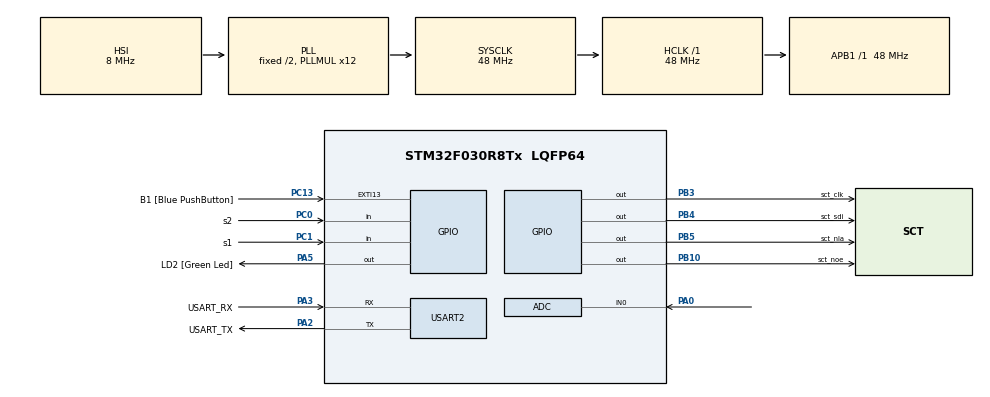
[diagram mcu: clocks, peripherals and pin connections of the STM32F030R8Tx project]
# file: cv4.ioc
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ADC.ContinuousConvMode=ENABLE
ADC.DiscontinuousConvMode=DISABLE
ADC.Overrun=ADC_OVR_DATA_OVERWRITTEN
ADC.SamplingTime=ADC_SAMPLETIME_239CYCLES_5
Mcu.Family=STM32F0
Mcu.Name=STM32F030R8Tx
Mcu.Package=LQFP64
NVIC.ADC1_IRQn=true\:0\:0\:false\:false\:true\:true\:true\:true
PA0.Mode=IN0
PA0.Signal=ADC_IN0
PA13.GPIO_Label=TMS
PA13.Mode=Serial_Wire
PA13.Signal=SYS_SWDIO
PA14.GPIO_Label=TCK
PA14.Mode=Serial_Wire
PA14.Signal=SYS_SWCLK
PA2.GPIO_Label=USART_TX
PA2.GPIO_Mode=GPIO_MODE_AF_PP
PA2.GPIO_PuPd=GPIO_NOPULL
PA2.GPIO_Speed=GPIO_SPEED_FREQ_LOW
PA2.Mode=Asynchronous
PA2.Signal=USART2_TX
PA3.GPIO_Label=USART_RX
PA3.GPIO_Mode=GPIO_MODE_AF_PP
PA3.GPIO_PuPd=GPIO_NOPULL
PA3.GPIO_Speed=GPIO_SPEED_FREQ_LOW
PA3.Mode=Asynchronous
PA3.Signal=USART2_RX
PA5.GPIO_Label=LD2 [Green Led]
PA5.GPIO_Mode=GPIO_MODE_OUTPUT_PP
PA5.GPIO_PuPd=GPIO_NOPULL
PA5.GPIO_Speed=GPIO_SPEED_FREQ_LOW
PA5.Signal=GPIO_Output
PB10.GPIO_Label=sct_noe
PB10.Signal=GPIO_Output
PB3.GPIO_Label=sct_clk
PB3.Signal=GPIO_Output
PB4.GPIO_Label=sct_sdi
PB4.Signal=GPIO_Output
PB5.GPIO_Label=sct_nla
PB5.Signal=GPIO_Output
PC0.GPIO_Label=s2
PC0.GPIO_PuPd=GPIO_PULLUP
PC0.Signal=GPIO_Input
PC1.GPIO_Label=s1
PC1.GPIO_PuPd=GPIO_PULLUP
PC1.Signal=GPIO_Input
PC13.GPIO_Label=B1 [Blue PushButton]
PC13.GPIO_ModeDefaultEXTI=GPIO_MODE_IT_FALLING
PC13.Signal=GPXTI13
PC14-OSC32_IN.Mode=LSE-External-Oscillator
PC14-OSC32_IN.Signal=RCC_OSC32_IN
PC15-OSC32_OUT.Mode=LSE-External-Oscillator
PC15-OSC32_OUT.Signal=RCC_OSC32_OUT
PF0-OSC_IN.Mode=HSE-External-Clock-Source
PF0-OSC_IN.Signal=RCC_OSC_IN
PF1-OSC_OUT.Signal=RCC_OSC_OUT
ProjectManager.HeapSize=0x200
ProjectManager.StackSize=0x400
ProjectManager.TargetToolchain=STM32CubeIDE
RCC.AHBFreq_Value=48000000
RCC.APB1Freq_Value=48000000
RCC.APB1TimFreq_Value=48000000
RCC.HCLKFreq_Value=48000000
RCC.PLLMUL=RCC_PLL_MUL12
RCC.SYSCLKFreq_VALUE=48000000
RCC.SYSCLKSource=RCC_SYSCLKSOURCE_PLLCLK
USART2.VirtualMode-Asynchronous=VM_ASYNC
VP_ADC_TempSens_Input.Mode=IN-TempSens
VP_ADC_Vref_Input.Mode=IN-Vrefint
board=NUCLEO-F030R8

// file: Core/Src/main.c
/* USER CODE BEGIN Header */
/**
  ******************************************************************************
  * @file           : main.c
  * @brief          : Main program body
  ******************************************************************************
  * @attention
  *
  * Copyright (c) 2023 STMicroelectronics.
  * All rights reserved.
  *
  * This software is licensed under terms that can be found in the LICENSE file
  * in the root directory of this software component.
  * If no LICENSE file comes with this software, it is provided AS-IS.
  *
  ******************************************************************************
  */
/* USER CODE END Header */
#include "main.h"

/* USER CODE BEGIN Includes */
#include "sct.h"
/* USER CODE END Includes */

/* USER CODE BEGIN PD */
#define TEMP110_CAL_ADDR ((uint16_t*) ((uint32_t) 0x1FFFF7C2))
#define TEMP30_CAL_ADDR ((uint16_t*) ((uint32_t) 0x1FFFF7B8))
#define VREFINT_CAL_ADDR ((uint16_t*) ((uint32_t) 0x1FFFF7BA))

/* USER CODE END PD */

ADC_HandleTypeDef hadc;

UART_HandleTypeDef huart2;

void SystemClock_Config(void);
static void MX_GPIO_Init(void);
static void MX_USART2_UART_Init(void);
static void MX_ADC_Init(void);

/* USER CODE BEGIN 0 */
static volatile uint32_t raw_pot, raw_temp, raw_volt;

void HAL_ADC_ConvCpltCallback(ADC_HandleTypeDef* hadc)
{

	static uint32_t avg_pot, channel;
	if (channel == 0){
		const uint8_t ADC_Q = 12;
		raw_pot = avg_pot >> ADC_Q;
		avg_pot -= raw_pot;
		avg_pot += HAL_ADC_GetValue(hadc);
	}
	if (channel == 1){
		raw_temp = HAL_ADC_GetValue(hadc);
	}
	if (channel == 2){
		raw_volt = HAL_ADC_GetValue(hadc);
	}
	if (__HAL_ADC_GET_FLAG(hadc, ADC_FLAG_EOS)){
		channel = 0;
	}
	else{
		channel++;
	}
}
/* USER CODE END 0 */

int main(void)
{

  /* MCU Configuration--------------------------------------------------------*/

  /* Reset of all peripherals, Initializes the Flash interface and the Systick. */
  HAL_Init();

  /* Configure the system clock */
  SystemClock_Config();

  /* Initialize all configured peripherals */
  MX_GPIO_Init();
  MX_USART2_UART_Init();
  MX_ADC_Init();
  /* USER CODE BEGIN 2 */
  sct_init();
  HAL_ADCEx_Calibration_Start(&hadc);
  HAL_ADC_Start_IT(&hadc);
  static enum { SHOW_POT, SHOW_VOLT, SHOW_TEMP } current_state = SHOW_POT;

  /* USER CODE END 2 */

  /* Infinite loop */
  /* USER CODE BEGIN WHILE */
  uint32_t set_tick = 0;
  while (1)
  {
	  if (HAL_GPIO_ReadPin(s1_GPIO_Port, s1_Pin) == GPIO_PIN_RESET) {
		  current_state = SHOW_VOLT;
		  set_tick = HAL_GetTick();
	  }
	  if (HAL_GPIO_ReadPin(s2_GPIO_Port, s2_Pin) == GPIO_PIN_RESET) {
		  current_state = SHOW_TEMP;
		  set_tick = HAL_GetTick();
	  }
	  if (HAL_GetTick() >= (set_tick + 1000)) {
		  current_state = SHOW_POT;
	  }

	  switch(current_state){
	  case SHOW_POT:
		  sct_value(raw_pot * (500 + 1) / 4096, raw_pot * 9 / 4096);
		  break;

	  case SHOW_VOLT:
		  sct_value(330 * (*VREFINT_CAL_ADDR) / raw_volt, 0);
		  break;

	  case SHOW_TEMP:
		  int32_t temperature = (raw_temp - (int32_t)(*TEMP30_CAL_ADDR));
		  temperature = temperature * (int32_t)(110 - 30);
		  temperature = temperature / (int32_t)(*TEMP110_CAL_ADDR - *TEMP30_CAL_ADDR);
		  temperature = temperature + 30;
		  sct_value(temperature, 0);
		  break;
	  }
	  HAL_Delay(50);
		  /* USER CODE END WHILE */
  }
}

void SystemClock_Config(void)
{
  RCC_OscInitTypeDef RCC_OscInitStruct = {0};
  RCC_ClkInitTypeDef RCC_ClkInitStruct = {0};

  /** Initializes the RCC Oscillators according to the specified parameters
  * in the RCC_OscInitTypeDef structure.
  */
  RCC_OscInitStruct.OscillatorType = RCC_OSCILLATORTYPE_HSI|RCC_OSCILLATORTYPE_HSI14;
  RCC_OscInitStruct.HSIState = RCC_HSI_ON;
  RCC_OscInitStruct.HSI14State = RCC_HSI14_ON;
  RCC_OscInitStruct.HSICalibrationValue = RCC_HSICALIBRATION_DEFAULT;
  RCC_OscInitStruct.HSI14CalibrationValue = 16;
  RCC_OscInitStruct.PLL.PLLState = RCC_PLL_ON;
  RCC_OscInitStruct.PLL.PLLSource = RCC_PLLSOURCE_HSI;
  RCC_OscInitStruct.PLL.PLLMUL = RCC_PLL_MUL12;
  RCC_OscInitStruct.PLL.PREDIV = RCC_PREDIV_DIV1;
  if (HAL_RCC_OscConfig(&RCC_OscInitStruct) != HAL_OK)
  {
    Error_Handler();
  }

  /** Initializes the CPU, AHB and APB buses clocks
  */
  RCC_ClkInitStruct.ClockType = RCC_CLOCKTYPE_HCLK|RCC_CLOCKTYPE_SYSCLK
                              |RCC_CLOCKTYPE_PCLK1;
  RCC_ClkInitStruct.SYSCLKSource = RCC_SYSCLKSOURCE_PLLCLK;
  RCC_ClkInitStruct.AHBCLKDivider = RCC_SYSCLK_DIV1;
  RCC_ClkInitStruct.APB1CLKDivider = RCC_HCLK_DIV1;

  if (HAL_RCC_ClockConfig(&RCC_ClkInitStruct, FLASH_LATENCY_1) != HAL_OK)
  {
    Error_Handler();
  }
}

static void MX_ADC_Init(void)
{

  ADC_ChannelConfTypeDef sConfig = {0};

  /** Configure the global features of the ADC (Clock, Resolution, Data Alignment and number of conversion)
  */
  hadc.Instance = ADC1;
  hadc.Init.ClockPrescaler = ADC_CLOCK_ASYNC_DIV1;
  hadc.Init.Resolution = ADC_RESOLUTION_12B;
  hadc.Init.DataAlign = ADC_DATAALIGN_RIGHT;
  hadc.Init.ScanConvMode = ADC_SCAN_DIRECTION_FORWARD;
  hadc.Init.EOCSelection = ADC_EOC_SINGLE_CONV;
  hadc.Init.LowPowerAutoWait = DISABLE;
  hadc.Init.LowPowerAutoPowerOff = DISABLE;
  hadc.Init.ContinuousConvMode = ENABLE;
  hadc.Init.DiscontinuousConvMode = DISABLE;
  hadc.Init.ExternalTrigConv = ADC_SOFTWARE_START;
  hadc.Init.ExternalTrigConvEdge = ADC_EXTERNALTRIGCONVEDGE_NONE;
  hadc.Init.DMAContinuousRequests = DISABLE;
  hadc.Init.Overrun = ADC_OVR_DATA_OVERWRITTEN;
  if (HAL_ADC_Init(&hadc) != HAL_OK)
  {
    Error_Handler();
  }

  /** Configure for the selected ADC regular channel to be converted.
  */
  sConfig.Channel = ADC_CHANNEL_0;
  sConfig.Rank = ADC_RANK_CHANNEL_NUMBER;
  sConfig.SamplingTime = ADC_SAMPLETIME_239CYCLES_5;
  if (HAL_ADC_ConfigChannel(&hadc, &sConfig) != HAL_OK)
  {
    Error_Handler();
  }

  /** Configure for the selected ADC regular channel to be converted.
  */
  sConfig.Channel = ADC_CHANNEL_TEMPSENSOR;
  if (HAL_ADC_ConfigChannel(&hadc, &sConfig) != HAL_OK)
  {
    Error_Handler();
  }

  /** Configure for the selected ADC regular channel to be converted.
  */
  sConfig.Channel = ADC_CHANNEL_VREFINT;
  if (HAL_ADC_ConfigChannel(&hadc, &sConfig) != HAL_OK)
  {
    Error_Handler();
  }

}

static void MX_USART2_UART_Init(void)
{

  huart2.Instance = USART2;
  huart2.Init.BaudRate = 38400;
  huart2.Init.WordLength = UART_WORDLENGTH_8B;
  huart2.Init.StopBits = UART_STOPBITS_1;
  huart2.Init.Parity = UART_PARITY_NONE;
  huart2.Init.Mode = UART_MODE_TX_RX;
  huart2.Init.HwFlowCtl = UART_HWCONTROL_NONE;
  huart2.Init.OverSampling = UART_OVERSAMPLING_16;
  huart2.Init.OneBitSampling = UART_ONE_BIT_SAMPLE_DISABLE;
  huart2.AdvancedInit.AdvFeatureInit = UART_ADVFEATURE_NO_INIT;
  if (HAL_UART_Init(&huart2) != HAL_OK)
  {
    Error_Handler();
  }

}

static void MX_GPIO_Init(void)
{
  GPIO_InitTypeDef GPIO_InitStruct = {0};

  /* GPIO Ports Clock Enable */
  __HAL_RCC_GPIOC_CLK_ENABLE();
  __HAL_RCC_GPIOF_CLK_ENABLE();
  __HAL_RCC_GPIOA_CLK_ENABLE();
  __HAL_RCC_GPIOB_CLK_ENABLE();

  /*Configure GPIO pin Output Level */
  HAL_GPIO_WritePin(LD2_GPIO_Port, LD2_Pin, GPIO_PIN_RESET);

  /*Configure GPIO pin Output Level */
  HAL_GPIO_WritePin(GPIOB, sct_noe_Pin|sct_clk_Pin|sct_sdi_Pin|sct_nla_Pin, GPIO_PIN_RESET);

  /*Configure GPIO pin : B1_Pin */
  GPIO_InitStruct.Pin = B1_Pin;
  GPIO_InitStruct.Mode = GPIO_MODE_IT_FALLING;
  GPIO_InitStruct.Pull = GPIO_NOPULL;
  HAL_GPIO_Init(B1_GPIO_Port, &GPIO_InitStruct);

  /*Configure GPIO pins : s2_Pin s1_Pin */
  GPIO_InitStruct.Pin = s2_Pin|s1_Pin;
  GPIO_InitStruct.Mode = GPIO_MODE_INPUT;
  GPIO_InitStruct.Pull = GPIO_PULLUP;
  HAL_GPIO_Init(GPIOC, &GPIO_InitStruct);

  /*Configure GPIO pin : LD2_Pin */
  GPIO_InitStruct.Pin = LD2_Pin;
  GPIO_InitStruct.Mode = GPIO_MODE_OUTPUT_PP;
  GPIO_InitStruct.Pull = GPIO_NOPULL;
  GPIO_InitStruct.Speed = GPIO_SPEED_FREQ_LOW;
  HAL_GPIO_Init(LD2_GPIO_Port, &GPIO_InitStruct);

  /*Configure GPIO pins : sct_noe_Pin sct_clk_Pin sct_sdi_Pin sct_nla_Pin */
  GPIO_InitStruct.Pin = sct_noe_Pin|sct_clk_Pin|sct_sdi_Pin|sct_nla_Pin;
  GPIO_InitStruct.Mode = GPIO_MODE_OUTPUT_PP;
  GPIO_InitStruct.Pull = GPIO_NOPULL;
  GPIO_InitStruct.Speed = GPIO_SPEED_FREQ_LOW;
  HAL_GPIO_Init(GPIOB, &GPIO_InitStruct);

}

void Error_Handler(void)
{
  __disable_irq();
  while (1)
  {
  }
}
